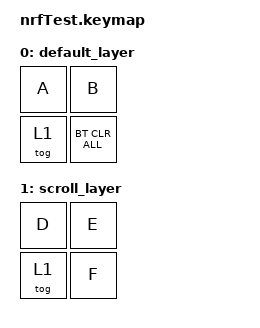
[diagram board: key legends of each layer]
#include <behaviors.dtsi>
#include <dt-bindings/zmk/keys.h>
#include <dt-bindings/zmk/bt.h>

/ {
    //chosen {
	//	zephyr,console = &cdc_acm_uart;
	//};

    keymap {
        compatible = "zmk,keymap";

        default_layer { // layer 0
            bindings = <
                &kp A   &kp B
                &tog 1  &bt BT_CLR_ALL
            >;
        };

        scroll_layer { // layer 1
            bindings = <
                &kp D   &kp E
                &tog 1  &kp F
            >;
        };
    };
};

//&usbd {
//	status = "okay";
//	cdc_acm_uart: cdc_acm_uart {
//		compatible = "zephyr,cdc-acm-uart";
//		label = "CDC_ACM_0";
//	};
//};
